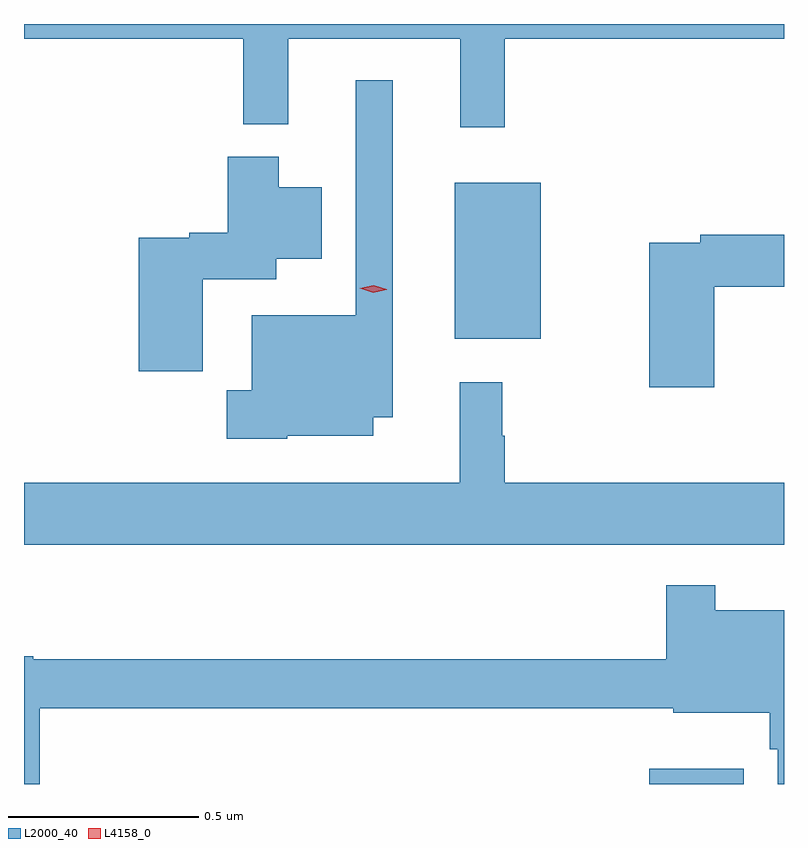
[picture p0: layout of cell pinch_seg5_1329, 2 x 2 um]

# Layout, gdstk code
import gdstk
lib = gdstk.Library(unit=1e-6, precision=1e-09)
def R(c, l, rs):  # rectangles x0, y0, x1, y1
    for r in rs: c.add(gdstk.rectangle(r[:2], r[2:], *l))
def P(c, l, *ps):  # polygons
    for p in ps: c.add(gdstk.Polygon(p, *l))
L2000_40 = (2000, 40)
L4158_0 = (4158, 0)

pinch_seg5_1329 = lib.new_cell('pinch_seg5_1329')
R(pinch_seg5_1329, L2000_40, [(378.02,846.807,378.268,846.847), (377.507,847.979,377.734,848.389)])
P(pinch_seg5_1329, L2000_40, [(377.639,848.768),(378.374,848.768),(378.374,848.807),(376.374,848.807),(376.374,848.768),(376.951,848.768),(376.951,848.543),(377.069,848.543),(377.069,848.768),(377.522,848.768),(377.522,848.535),(377.639,848.535)],
  [(377.067,847.724),(377.293,847.724),(377.293,847.772),(377.344,847.772),(377.344,848.659),(377.247,848.659),(377.247,848.041),(376.973,848.041),(376.973,847.843),(376.908,847.843),(376.908,847.715),(377.067,847.715)],
  [(376.844,848.135),(377.038,848.135),(377.038,848.189),(377.158,848.189),(377.158,848.377),(377.044,848.377),(377.044,848.458),(376.91,848.458),(376.91,848.258),(376.809,848.258),(376.809,848.245),(376.676,848.245),(376.676,847.893),(376.844,847.893)],
  [(378.191,848.116),(378.374,848.116),(378.374,848.252),(378.154,848.252),(378.154,848.232),(378.02,848.232),(378.02,847.851),(378.191,847.851)],
  [(378.374,847.6),(377.639,847.6),(377.639,847.724),(377.632,847.724),(377.632,847.864),(377.521,847.864),(377.521,847.6),(376.374,847.6),(376.374,847.436),(378.374,847.436)],
  [(376.415,847.006),(378.083,847.006),(378.083,846.995),(378.337,846.995),(378.337,846.899),(378.357,846.899),(378.357,846.807),(378.374,846.807),(378.374,847.264),(378.193,847.264),(378.193,847.33),(378.064,847.33),(378.064,847.135),(376.398,847.135),(376.398,847.143),(376.374,847.143),(376.374,846.807),(376.415,846.807)])
P(pinch_seg5_1329, L4158_0, [(377.293,848.1),(377.257,848.111),(377.257,848.111),(377.257,848.111),(377.294,848.12),(377.329,848.109),(377.329,848.108),(377.329,848.108)])

lib.write_gds('pinch_seg5_1329.gds')
